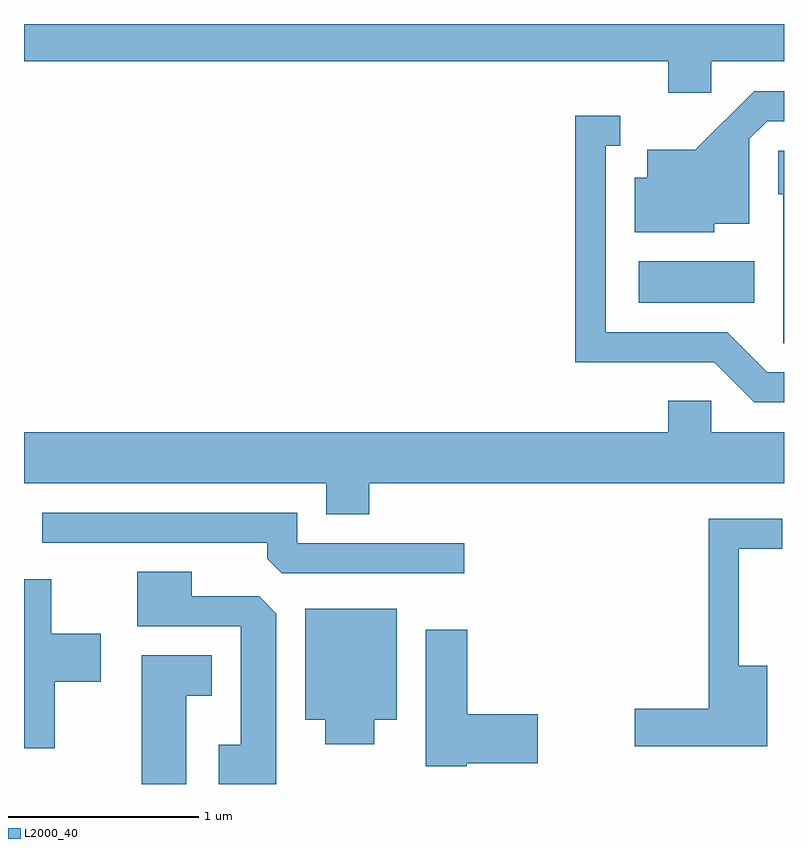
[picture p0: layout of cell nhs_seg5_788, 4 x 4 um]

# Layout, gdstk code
import gdstk
lib = gdstk.Library(unit=1e-6, precision=1e-09)
def R(c, l, rs):  # rectangles x0, y0, x1, y1
    for r in rs: c.add(gdstk.rectangle(r[:2], r[2:], *l))
def P(c, l, *ps):  # polygons
    for p in ps: c.add(gdstk.Polygon(p, *l))
L2000_40 = (2000, 40)

nhs_seg5_788 = lib.new_cell('nhs_seg5_788')
R(nhs_seg5_788, L2000_40, [(210.846,1486.606,211.454,1486.824)])
P(nhs_seg5_788, L2000_40, [(211.229,1487.876),(211.611,1487.876),(211.611,1488.072),(207.611,1488.072),(207.611,1487.876),(211.001,1487.876),(211.001,1487.711),(211.229,1487.711)],
  [(211.244,1487.021),(211.429,1487.021),(211.429,1487.469),(211.522,1487.561),(211.611,1487.561),(211.611,1487.719),(211.454,1487.719),(211.144,1487.409),(210.891,1487.409),(210.891,1487.264),(210.826,1487.264),(210.826,1486.976),(211.244,1486.976)],
  [(211.611,1486.239),(211.522,1486.239),(211.312,1486.449),(210.674,1486.449),(210.674,1487.431),(210.748,1487.431),(210.748,1487.589),(210.511,1487.589),(210.511,1486.291),(211.244,1486.291),(211.454,1486.081),(211.611,1486.081)],
  [(211.611,1487.404),(211.581,1487.404),(211.581,1487.176),(211.606,1487.176),(211.606,1486.391),(211.611,1486.391)],
  [(209.429,1485.656),(211.611,1485.656),(211.611,1485.924),(211.229,1485.924),(211.229,1486.089),(211.001,1486.089),(211.001,1485.924),(207.611,1485.924),(207.611,1485.656),(209.201,1485.656),(209.201,1485.491),(209.429,1485.491)],
  [(209.928,1485.339),(209.049,1485.339),(209.049,1485.499),(207.708,1485.499),(207.708,1485.341),(208.891,1485.341),(208.891,1485.257),(208.967,1485.181),(209.928,1485.181)],
  [(211.524,1484.694),(211.374,1484.694),(211.374,1485.311),(211.603,1485.311),(211.603,1485.469),(211.216,1485.469),(211.216,1484.469),(210.826,1484.469),(210.826,1484.271),(211.524,1484.271)],
  [(208.939,1484.969),(208.849,1485.059),(208.494,1485.059),(208.494,1485.189),(208.206,1485.189),(208.206,1484.901),(208.751,1484.901),(208.751,1484.279),(208.636,1484.279),(208.636,1484.072),(208.939,1484.072)],
  [(207.774,1484.611),(208.014,1484.611),(208.014,1484.864),(207.754,1484.864),(207.754,1485.149),(207.611,1485.149),(207.611,1484.261),(207.774,1484.261)],
  [(209.454,1484.411),(209.574,1484.411),(209.574,1484.994),(209.091,1484.994),(209.091,1484.411),(209.196,1484.411),(209.196,1484.281),(209.454,1484.281)],
  [(209.94,1484.181),(210.314,1484.181),(210.314,1484.439),(209.944,1484.439),(209.944,1484.884),(209.726,1484.884),(209.726,1484.166),(209.94,1484.166)],
  [(208.464,1484.536),(208.599,1484.536),(208.599,1484.749),(208.231,1484.749),(208.231,1484.072),(208.464,1484.072)])

lib.write_gds('nhs_seg5_788.gds')
